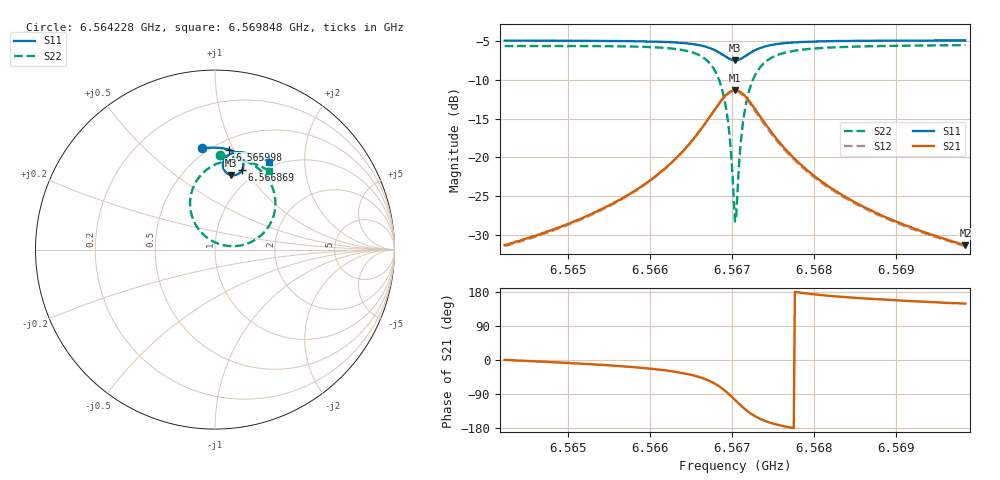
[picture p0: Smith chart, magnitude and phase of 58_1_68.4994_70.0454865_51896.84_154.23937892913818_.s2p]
#  HZ  S  RI  R  50.00
! Rohde & Schwarz Vector Network Analyzer
! Rohde-Schwarz,ZNB20-2Port,1311601062101988,3.16
! Created: UTC 3/20/2024, 5:06:16 PM
! freq[Hz]  re:S11  im:S11  re:S21  im:S21  re:S12  im:S12  re:S22  im:S22
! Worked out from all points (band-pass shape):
!   401 points, 6.564228 GHz to 6.569848 GHz, reference 50 ohm
!   highest |S21| = -11.32 dB at 6.567038 GHz (marker M1); lowest = -31.4 dB at 6.569848 GHz (marker M2)
!   |S21| within 3 dB of the highest: 6.566758 GHz to 6.567319 GHz (560.7 kHz wide, 0.00854 % of centre)
!   lowest |S11| = -7.4 dB at 6.567038 GHz (marker M3), VSWR 2.48, Z = 40.9 + j41.4 ohm
!   |S11| at or under -10 dB: nowhere
!   |S22| runs from -28.3 to -5.5 dB; largest |S21 - S12| = 0.012
!   S11 on the Smith chart (normalised r, x): 6.564228 GHz: 0.46, +0.77; 6.565998 GHz: 0.59, +0.96; 6.566869 GHz: 0.85, +0.97; 6.569848 GHz: 0.93, +1.34
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6.5642284e9  -0.0727 0.5644  0.0271 0.000141  0.0267 -0.000244  0.0265 0.5246
6.5651696e9  0.00383 0.568  0.0399 -0.00677  0.0392 -0.00745  0.114 0.5126
6.5659984e9  0.0798 0.5566  0.0654 -0.0273  0.0643 -0.028  0.2172 0.4694
6.5661108e9  0.0914 0.5527  0.0711 -0.0338  0.0701 -0.0345  0.2354 0.4568
6.5664199e9  0.1263 0.5341  0.0917 -0.0649  0.0902 -0.0661  0.2942 0.3951
6.5666446e9  0.1518 0.5039  0.1054 -0.1173  0.1029 -0.1195  0.3339 0.2941
6.5667711e9  0.159 0.4736  0.0985 -0.1703  0.0944 -0.1731  0.3277 0.1933
6.5668694e9  0.1508 0.443  0.0672 -0.2227  0.06 -0.2255  0.2728 0.0947
6.5669116e9  0.141 0.4302  0.0419 -0.2438  0.0332 -0.2456  0.2264 0.0564
6.5669537e9  0.1266 0.42  0.00881 -0.2598  -0.0015 -0.2599  0.1659 0.0288
6.5669818e9  0.115 0.4157  -0.0167 -0.2657  -0.0279 -0.2641  0.1194 0.02
6.5670239e9  0.0956 0.414  -0.0584 -0.2648  -0.0694 -0.2604  0.0459 0.0248
6.567038e9  0.0891 0.4151  -0.0719 -0.2619  -0.0829 -0.2564  0.0221 0.0315
6.5670661e9  0.0767 0.4192  -0.0982 -0.2519  -0.1083 -0.2447  -0.0226 0.0522
6.5671082e9  0.0611 0.4301  -0.1318 -0.2286  -0.1396 -0.2189  -0.0778 0.0975
6.5671504e9  0.0503 0.4446  -0.1557 -0.1989  -0.1609 -0.1883  -0.115 0.1525
6.5672066e9  0.0439 0.4658  -0.1724 -0.1572  -0.1746 -0.1467  -0.1372 0.2272
6.5672768e9  0.0461 0.4893  -0.1751 -0.111  -0.1745 -0.102  -0.1334 0.3077
6.5675297e9  0.0845 0.5327  -0.1329 -0.0246  -0.1298 -0.0206  -0.037 0.4522
6.5679792e9  0.1453 0.5423  -0.0772 0.00827  -0.0754 0.00952  0.0911 0.497
6.5689204e9  0.2312 0.5202  -0.0374 0.0146  -0.0365 0.0149  0.2208 0.4778
6.5698476e9  0.2989 0.4864  -0.0231 0.014  -0.0226 0.0142  0.2998 0.4401
